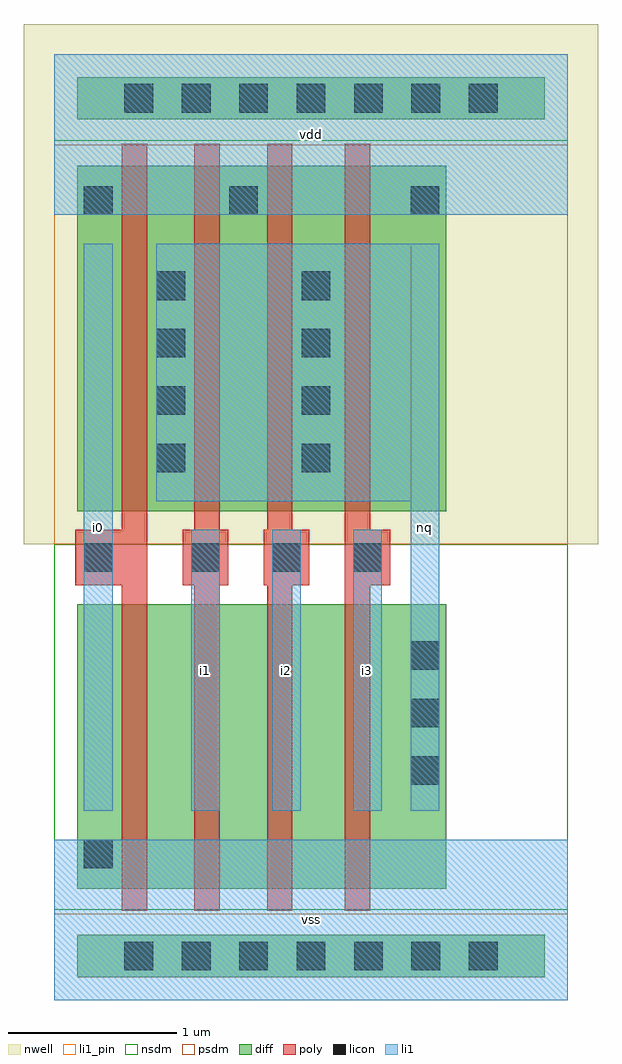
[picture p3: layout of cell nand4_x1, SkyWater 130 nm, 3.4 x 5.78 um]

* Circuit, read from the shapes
.subckt nand4_x1 i0 i1 i2 i3 nq vdd vss
XM1 n1 i0 vss VSUBS sky130_fd_pr__nfet_01v8 w=1.685 l=0.15
XM2 n2 i1 n1 VSUBS sky130_fd_pr__nfet_01v8 w=1.685 l=0.15
XM3 n3 i2 n2 VSUBS sky130_fd_pr__nfet_01v8 w=1.685 l=0.15
XM4 nq i3 n3 VSUBS sky130_fd_pr__nfet_01v8 w=1.685 l=0.15
XM5 nq i0 vdd n4 sky130_fd_pr__pfet_01v8 w=2.045 l=0.15
XM6 vdd i1 nq n4 sky130_fd_pr__pfet_01v8 w=2.045 l=0.15
XM7 nq i2 vdd n4 sky130_fd_pr__pfet_01v8 w=2.045 l=0.15
XM8 vdd i3 nq n4 sky130_fd_pr__pfet_01v8 w=2.045 l=0.15
.ends

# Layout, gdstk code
import gdstk
lib = gdstk.Library(unit=1e-6, precision=1e-09)
def R(c, l, rs):  # rectangles x0, y0, x1, y1
    for r in rs: c.add(gdstk.rectangle(r[:2], r[2:], *l))
def A(c, l, x, y, w, h, nx, ny, dx, dy):  # array of equal rectangles
    R(c, l, [(x+i*dx, y+j*dy, x+i*dx+w, y+j*dy+h) for i in range(nx) for j in range(ny)])
def P(c, l, *ps):  # polygons
    for p in ps: c.add(gdstk.Polygon(p, *l))
nwell = (64, 20)
diff = (65, 20)
poly = (66, 20)
licon = (66, 44)
li1_pin = (67, 16)
li1 = (67, 20)
nsdm = (93, 44)
psdm = (94, 20)

nand4_x1 = lib.new_cell('nand4_x1')
R(nand4_x1, nwell, [(-0.18,2.7,3.22,5.78)])
R(nand4_x1, diff, [(0.135,0.135,2.905,0.385), (0.135,0.66,2.32,2.345), (0.135,2.895,2.32,4.94), (0.135,5.215,2.905,5.465)])
P(nand4_x1, poly, [(0.4,0.53),(0.4,2.455),(0.125,2.455),(0.125,2.785),(0.4,2.785),(0.4,5.07),(0.55,5.07),(0.55,0.53)],
  [(0.83,0.53),(0.83,2.455),(0.76,2.455),(0.76,2.785),(0.83,2.785),(0.83,5.07),(0.98,5.07),(0.98,2.785),(1.03,2.785),(1.03,2.455),(0.98,2.455),(0.98,0.53)],
  [(1.26,0.53),(1.26,2.455),(1.24,2.455),(1.24,2.785),(1.26,2.785),(1.26,5.07),(1.41,5.07),(1.41,2.785),(1.51,2.785),(1.51,2.455),(1.41,2.455),(1.41,0.53)],
  [(1.72,0.53),(1.72,5.07),(1.87,5.07),(1.87,2.785),(1.99,2.785),(1.99,2.455),(1.87,2.455),(1.87,0.53)])
A(nand4_x1, licon, 0.415, 0.175, 0.17, 0.17, 7, 2, 0.34, 5.08)
A(nand4_x1, licon, 2.11, 1.275, 0.17, 0.17, 1, 3, 0, 0.34)
A(nand4_x1, licon, 0.81, 2.535, 0.17, 0.17, 3, 1, 0.48, 0)
A(nand4_x1, licon, 0.605, 3.125, 0.17, 0.17, 1, 4, 0, 0.34)
A(nand4_x1, licon, 1.465, 3.125, 0.17, 0.17, 1, 4, 0, 0.34)
R(nand4_x1, licon, [(0.175,0.78,0.345,0.95), (0.175,2.535,0.345,2.705), (0.175,4.65,0.345,4.82), (1.035,4.65,1.205,4.82), (2.11,4.65,2.28,4.82)])
A(nand4_x1, li1_pin, 0.81, 1.12, 0.17, 1.665, 3, 1, 0.48, 0)
R(nand4_x1, li1_pin, [(0,0,3.04,0.95), (0.175,1.12,0.345,4.48), (2.11,1.12,2.28,4.48), (0,4.65,3.04,5.6)])
A(nand4_x1, li1, 0.81, 1.12, 0.17, 1.665, 3, 1, 0.48, 0)
R(nand4_x1, li1, [(0,0,3.04,0.95), (0.175,1.12,0.345,4.48), (0,4.65,3.04,5.6)])
P(nand4_x1, li1, [(2.11,1.12),(2.11,2.955),(0.605,2.955),(0.605,4.48),(2.28,4.48),(2.28,1.12)])
R(nand4_x1, nsdm, [(0,0.535,3.04,2.7), (0,5.09,3.04,5.6)])
R(nand4_x1, psdm, [(0,0,3.04,0.51), (0,2.7,3.04,5.065)])
nand4_x1.add(gdstk.Label('vss', (1.52,0.475), layer=67, texttype=16))
nand4_x1.add(gdstk.Label('vdd', (1.52,5.125), layer=67, texttype=16))
nand4_x1.add(gdstk.Label('i0', (0.26,2.8), layer=67, texttype=16))
nand4_x1.add(gdstk.Label('nq', (2.195,2.8), layer=67, texttype=16))
nand4_x1.add(gdstk.Label('i1', (0.895,1.953), layer=67, texttype=16))
nand4_x1.add(gdstk.Label('i2', (1.375,1.953), layer=67, texttype=16))
nand4_x1.add(gdstk.Label('i3', (1.855,1.953), layer=67, texttype=16))

lib.write_gds('nand4_x1.gds')
